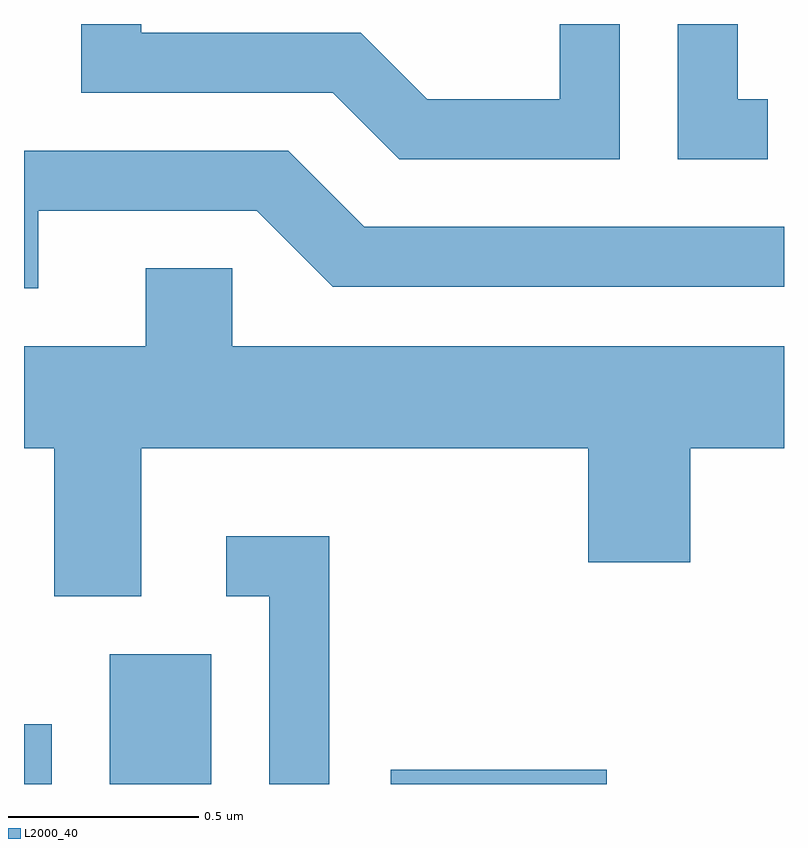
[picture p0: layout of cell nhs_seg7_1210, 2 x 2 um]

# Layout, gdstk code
import gdstk
lib = gdstk.Library(unit=1e-6, precision=1e-09)
def R(c, l, rs):  # rectangles x0, y0, x1, y1
    for r in rs: c.add(gdstk.rectangle(r[:2], r[2:], *l))
def P(c, l, *ps):  # polygons
    for p in ps: c.add(gdstk.Polygon(p, *l))
L2000_40 = (2000, 40)

nhs_seg7_1210 = lib.new_cell('nhs_seg7_1210')
R(nhs_seg7_1210, L2000_40, [(193.611,1782.252,193.684,1782.409), (193.836,1782.252,194.104,1782.594), (194.576,1782.252,195.144,1782.289)])
P(nhs_seg7_1210, L2000_40, [(195.179,1784.252),(195.021,1784.252),(195.021,1784.054),(194.672,1784.054),(194.497,1784.229),(193.919,1784.229),(193.919,1784.252),(193.761,1784.252),(193.761,1784.071),(194.424,1784.071),(194.599,1783.896),(195.179,1783.896)],
  [(195.568,1784.054),(195.489,1784.054),(195.489,1784.252),(195.331,1784.252),(195.331,1783.896),(195.568,1783.896)],
  [(193.649,1783.761),(194.224,1783.761),(194.424,1783.561),(195.611,1783.561),(195.611,1783.719),(194.507,1783.719),(194.307,1783.919),(193.611,1783.919),(193.611,1783.556),(193.649,1783.556)],
  [(193.919,1783.136),(195.096,1783.136),(195.096,1782.836),(195.364,1782.836),(195.364,1783.136),(195.611,1783.136),(195.611,1783.404),(194.159,1783.404),(194.159,1783.609),(193.931,1783.609),(193.931,1783.404),(193.611,1783.404),(193.611,1783.136),(193.691,1783.136),(193.691,1782.746),(193.919,1782.746)],
  [(194.414,1782.904),(194.143,1782.904),(194.143,1782.746),(194.256,1782.746),(194.256,1782.252),(194.414,1782.252)])

lib.write_gds('nhs_seg7_1210.gds')
